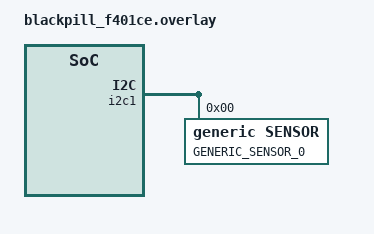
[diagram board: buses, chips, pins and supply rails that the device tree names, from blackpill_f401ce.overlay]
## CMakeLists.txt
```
# SPDX-License-Identifier: Apache-2.0

cmake_minimum_required(VERSION 3.20.0)
set(BOARD blackpill_f401ce)
set(DTC_OVERLAY_FILE blackpill_f401ce.overlay)

find_package(Zephyr REQUIRED HINTS $ENV{ZEPHYR_BASE})

project(usb_non_standard_class)

target_sources(app  PRIVATE src/main.c src/led.c src/bme280.c)
```

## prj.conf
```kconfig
CONFIG_STDOUT_CONSOLE=y
CONFIG_USB_DEVICE_STACK=y
CONFIG_USB_DEVICE_PRODUCT="USB Non Standard Class"
CONFIG_USB_DEVICE_VID=0x2312
CONFIG_USB_DEVICE_PID=0xec40
CONFIG_LOG=y
# CONFIG_LOG_DEFAULT_LEVEL=4
CONFIG_USB_DRIVER_LOG_LEVEL_ERR=y
CONFIG_USB_DEVICE_LOG_LEVEL_ERR=y
CONFIG_SERIAL=y
CONFIG_UART_INTERRUPT_DRIVEN=y
CONFIG_UART_LINE_CTRL=y
CONFIG_USB_DEVICE_INITIALIZE_AT_BOOT=n
CONFIG_GPIO=y

# Adding I2C
CONFIG_I2C=y
```

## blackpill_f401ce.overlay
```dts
/*
 * Copyright (c) 2020, Nordic Semiconductor ASA
 *
 * SPDX-License-Identifier: Apache-2.0
 */

/*
 * Example configuration of a BME280 device on a blackpill_f401ce I2C bus.
 *
 * Device address 0x77 is assumed. Your device may have a different
 * address; check your device documentation if unsure.
 */
&i2c1 {
	status = "okay";

	sensor@0 {
		compatible = "generic,sensor";
		reg = <0x00>;
		label = "GENERIC_SENSOR_0";
	};
};
```

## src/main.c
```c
/*
 * USB non standard class
 *
 * @author: Jakub Szymanski
 */

#include <stdio.h>
#include <stdlib.h>
#include <string.h>
#include <zephyr/device.h>
#include <zephyr/drivers/i2c.h>
#include <zephyr/drivers/sensor.h>
#include <zephyr/drivers/uart.h>
#include <zephyr/init.h>
#include <zephyr/kernel.h>
#include <zephyr/logging/log.h>
#include <zephyr/sys/ring_buffer.h>
#include <zephyr/usb/usb_device.h>
#include <zephyr/usb/usbd.h>

#include "bme280.h"
#include "led.h"

#define BULK_OUT_EP_ADDR 0x01
#define BULK_IN_EP_ADDR 0x81

#define BULK_OUT_EP_IDX 0
#define BULK_IN_EP_IDX 1

#define USB_READ_FLAG 0x5b
#define USB_WRITE_FLAG 0x5c

LOG_MODULE_REGISTER(main);
struct i2c_command {
    uint8_t operation;    // Typ operacji: odczyt/zapis
    uint8_t device_addr;  // Adres urządzenia I2C
    uint8_t reg_addr;     // Adres rejestru (jeśli dotyczy)
    uint8_t data_length;  // Długość danych
    uint8_t data[64];     // Dane do wysłania/odebrania
};

static struct k_work i2c_work;
static struct i2c_command i2c_cmd;

static uint8_t usb_static_buffer[64] = {0};

uint8_t who_am_i;
const struct device *gdev = 0;

struct usb_config {
    struct usb_if_descriptor if0;
    struct usb_ep_descriptor if0_out_ep;
    struct usb_ep_descriptor if0_in_ep;
} __packed;

USBD_CLASS_DESCR_DEFINE(primary, 0)
struct usb_config my_usb_config = {
    /* Interface descriptor 0 */
    .if0 =
        {
            .bLength = sizeof(struct usb_if_descriptor),
            .bDescriptorType = USB_DESC_INTERFACE,
            .bInterfaceNumber = 0,
            .bAlternateSetting = 0,
            .bNumEndpoints = 2,
            .bInterfaceClass = USB_BCC_VENDOR,
            .bInterfaceSubClass = 0,
            .bInterfaceProtocol = 0,
            .iInterface = 0,
        },

    /* Data Endpoint OUT */
    .if0_out_ep =
        {
            .bLength = sizeof(struct usb_ep_descriptor),
            .bDescriptorType = USB_DESC_ENDPOINT,
            .bEndpointAddress = BULK_OUT_EP_ADDR,
            .bmAttributes = USB_DC_EP_BULK,
            .wMaxPacketSize = 64,
            .bInterval = 0x00,
        },

    /* Data Endpoint IN */
    .if0_in_ep =
        {
            .bLength = sizeof(struct usb_ep_descriptor),
            .bDescriptorType = USB_DESC_ENDPOINT,
            .bEndpointAddress = BULK_IN_EP_ADDR,
            .bmAttributes = USB_DC_EP_BULK,
            .wMaxPacketSize = 64,
            .bInterval = 0x00,
        },
};
static uint8_t is_i2c_ready() {
    const struct device *i2c_dev = gdev;
    if (i2c_dev == NULL) {
        /* No such node, or the node does not have status "okay". */
        LOG_INF("Error: no i2c device founding.\n");
        return NULL;
    }

    if (!device_is_ready(i2c_dev)) {
        LOG_INF(
            "Error: Device \"%s\" is not ready; "
            "check the driver initialization logs for errors.\n",
            i2c_dev->name);
        return NULL;
    }
    LOG_INF("Device is ready\n");
    return 1;
}

void i2c_work_handler(struct k_work *work) {
    int ret;
    uint8_t tmp;
    printk("i2c_work start\n");

    if (i2c_cmd.operation == 0) {  // Zapis
        ret = i2c_burst_write(gdev, i2c_cmd.device_addr, i2c_cmd.reg_addr,
                              i2c_cmd.data, i2c_cmd.data_length);
        if (ret != 0) {
            printk("Failed to write I2C message: %d\n", ret);
        } else {
            printk("I2C message sent successfully.\n");
        }
    } else if (i2c_cmd.operation == 1) {  // Odczyt
        ret = i2c_reg_read_byte(gdev, i2c_cmd.device_addr, i2c_cmd.reg_addr,
                                &tmp);
        i2c_cmd.data[0] = tmp;
        if (ret != 0) {
            printk("Failed to read I2C message: %d\n", ret);
        } else {
            printk("I2C message read successfully. Read: %x\n", tmp);

            // Przesyłanie danych z powrotem do hosta USB
            uint8_t ep = 0x81;  // Wartość może być dostosowana zgodnie z Twoimi
                                // wymaganiami
            int result = usb_write(ep, i2c_cmd.data, 1, NULL);
            if (result == 0) {
                printk("USB message sent successfully. Data: %x\n", tmp);
            } else {
                printk("USB write failed with error code %d.\n", result);
            }
        }
    }
    printk("i2c_work end\n");
}

static void bulk_ep_out_cb(uint8_t ep,
                           enum usb_dc_ep_cb_status_code ep_status) {
    uint32_t bytes_to_read;

    // Odczytaj ilość bajtów do odczytu
    usb_read(ep, NULL, 0, &bytes_to_read);
    LOG_INF("ep 0x%x, bytes to read %d ", ep, bytes_to_read);

    // Upewnij się, że ilość bajtów nie przekracza rozmiaru struktury
    // i2c_command
    if (bytes_to_read > sizeof(struct i2c_command)) {
        LOG_ERR("Received data exceeds buffer size.");
        return;
    }

    // Odczytaj dane z bufora USB do struktury i2c_command
    usb_read(ep, (uint8_t *)&i2c_cmd, bytes_to_read, NULL);

    LOG_INF(
        "Received I2C command: operation=%d, addr=0x%x, reg=0x%x, length=%d",
        i2c_cmd.operation, i2c_cmd.device_addr, i2c_cmd.reg_addr,
        i2c_cmd.data_length);
    printk("Enable ep %x\n", ep);
    usb_dc_ep_enable(ep);
    // Przekazanie danych do workqueue
    k_work_submit(&i2c_work);
}

static void bulk_ep_in_cb(uint8_t ep, enum usb_dc_ep_cb_status_code ep_status) {
    uint8_t stalled;
    LOG_WRN("usb_dc_ep_is_stalled - return: %d, stalled: %d",
            usb_dc_ep_is_stalled(ep, &stalled), stalled);

    // Przesyłanie danych z powrotem do hosta USB
    int result = usb_write(ep, i2c_cmd.data, i2c_cmd.data_length, NULL);

    if (result == 0) {
        LOG_INF("ep 0x%x", ep);
        LOG_INF("Sending value: %d ", i2c_cmd.data[0]);
    } else {
        printk("USB write failed with error code %d.\n", result);
    }
}

static struct usb_ep_cfg_data ep_cfg[] = {
    {
        .ep_cb = bulk_ep_out_cb,
        .ep_addr = BULK_OUT_EP_ADDR,
    },
    {
        .ep_cb = bulk_ep_in_cb,
        .ep_addr = BULK_IN_EP_ADDR,
    },
};

static void usb_status_cb(struct usb_cfg_data *cfg,
                          enum usb_dc_status_code status,
                          const uint8_t *param) {
    ARG_UNUSED(cfg);

    // LOG_INF("USB Status callback enter");

    switch (status) {
        case USB_DC_INTERFACE:
            bulk_ep_in_cb(ep_cfg[BULK_IN_EP_IDX].ep_addr, 0);
            LOG_INF("USB interface configured");
            break;

        case USB_DC_SET_HALT:
            LOG_INF("Set Feature ENDPOINT_HALT");
            break;

        case USB_DC_CLEAR_HALT:
            /*TODO: understand this and use this */
            LOG_INF("Clear Feature ENDPOINT_HALT");
            if (*param == ep_cfg[BULK_IN_EP_IDX].ep_addr) {
                bulk_ep_in_cb(ep_cfg[BULK_IN_EP_IDX].ep_addr, 0);
            }
            break;

        default:
            break;
    }
}

static int usb_vendor_handler(struct usb_setup_packet *setup, int32_t *len,
                              uint8_t **data) {
    LOG_INF("Class request: bRequest 0x%x bmRequestType 0x%x len %d",
            setup->bRequest, setup->bmRequestType, *len);

    const struct device *i2c_dev = gdev;
    if (setup->RequestType.recipient != USB_REQTYPE_RECIPIENT_DEVICE) {
        return -ENOTSUP;
    }

    if (usb_reqtype_is_to_device(setup) && setup->bRequest == USB_READ_FLAG) {
        LOG_INF("Host-to-Device, data: %p wValue: %d", (void *)*data,
                setup->wValue);
        LOG_INF("Receive message: %s", *data);
        /*
         * Copy request data in usb_static_buffer buffer and reuse
         * it later in control device-to-host transfer.
         */
        memcpy(usb_static_buffer, *data,
               MIN(sizeof(usb_static_buffer), setup->wLength));
        set_led_state(setup->wValue);

        return 0;
    }

    if ((usb_reqtype_is_to_host(setup)) &&
        (setup->bRequest == USB_WRITE_FLAG)) {
        LOG_INF("Device-to-Host, wValue %d, data %p", setup->wValue,
                (void *)*data);
        LOG_INF("Sending message: %s", usb_static_buffer);
        *data = usb_static_buffer;
        *len = MIN(sizeof(usb_static_buffer), setup->wLength);
        return 0;
    }

    return -ENOTSUP;
}

/* usb.rst vendor handler end */
static void custom_interface_config(struct usb_desc_header *head,
                                    uint8_t bInterfaceNumber) {
    ARG_UNUSED(head);

    my_usb_config.if0.bInterfaceNumber = bInterfaceNumber;
}

/* usb.rst device config data start */
USBD_DEFINE_CFG_DATA(my_usb_config_data) = {
    .usb_device_description = NULL,
    .interface_config = custom_interface_config,
    .interface_descriptor = &my_usb_config.if0,
    .cb_usb_status = usb_status_cb,
    .interface =
        {
            .class_handler = NULL,
            .custom_handler = NULL,
            .vendor_handler = usb_vendor_handler,
        },
    .num_endpoints = ARRAY_SIZE(ep_cfg),
    .endpoint = ep_cfg,
};
/* usb.rst device config data end */

int main(void) {
    k_work_init(&i2c_work, i2c_work_handler);

    int ret;

    ret = usb_enable(NULL);
    if (ret != 0) {
        LOG_ERR("Failed to enable USB");
        return 0;
    }

    LOG_INF("entered main.");
    if (init_led() < 0) {
        LOG_WRN("Failed to enable LED");
        return 0;
    }

    gdev = DEVICE_DT_GET(DT_NODELABEL(i2c1));

    if (!gdev) {
        printk("Cannot get I2C device\n");
        return 0;
    }

    // Sprawdź identyfikator chipu
    // uint8_t chip_id;
    // ret = i2c_reg_read_byte(gdev, BMP280_I2C_ADDRESS, BMP280_REG_CHIPID,
    //                         &chip_id);
    // if (ret != 0) {
    //     printk("Failed to read chip ID: %d\n", ret);
    //     return 0;
    // }

    // if (chip_id != BMP280_CHIPID) {
    //     printk("Invalid chip ID: 0x%x\n", chip_id);
    //     return 0;
    // }
    // printk("I2C device found - chip ID: 0x%x\n", chip_id);
    // read_temperature_from_bmp280(gdev);

    printk("End\n");
    return 0;
}
```

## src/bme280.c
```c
#include "bme280.h"

#include <stdint.h>

typedef struct {
    int32_t integer_part;
    int32_t fractional_part;
} Temperature;

static Temperature bmp280_compensate_temp(int32_t adc_T) {
    // Kalibracyjne stałe
    int32_t dig_T1 = 27504;
    int32_t dig_T2 = 26435;
    int32_t dig_T3 = -1000;

    int32_t var1, var2, T;

    var1 =
        ((((adc_T >> 3) - ((int32_t)dig_T1 << 1))) * ((int32_t)dig_T2)) >> 11;
    var2 = (((((adc_T >> 4) - ((int32_t)dig_T1)) *
              ((adc_T >> 4) - ((int32_t)dig_T1))) >>
             12) *
            ((int32_t)dig_T3)) >>
           14;
    T = var1 + var2;
    int32_t T_fine = T * 5 + 128;

    // Obliczanie temperatury w stopniach Celsjusza
    int32_t temp = T_fine / 256;
    int32_t temp_fraction = ((T_fine % 256) * 100) / 256;

    Temperature result;
    result.integer_part = temp / 100;
    result.fractional_part = temp_fraction;

    return result;
}

void read_temperature_from_bmp280(struct device *i2c_dev) {
    if (!i2c_dev) {
        printk("Failed to get binding for I2C device\n");
        return;
    }

    uint8_t temp_msb, temp_lsb, temp_xlsb;
    int ret;

    // Odczyt MSB
    ret = i2c_reg_read_byte(i2c_dev, BMP280_I2C_ADDRESS, BMP280_REG_TEMP_MSB,
                            &temp_msb);
    if (ret) {
        printk("Failed to read MSB register: %d\n", ret);
        return;
    }

    // Odczyt LSB
    ret = i2c_reg_read_byte(i2c_dev, BMP280_I2C_ADDRESS, BMP280_REG_TEMP_LSB,
                            &temp_lsb);
    if (ret) {
        printk("Failed to read LSB register: %d\n", ret);
        return;
    }

    // Odczyt XLSB
    ret = i2c_reg_read_byte(i2c_dev, BMP280_I2C_ADDRESS, BMP280_REG_TEMP_XLSB,
                            &temp_xlsb);
    if (ret) {
        printk("Failed to read XLSB register: %d\n", ret);
        return;
    }

    int32_t temp_raw =
        (int32_t)(((uint32_t)temp_msb << 12) | ((uint32_t)temp_lsb << 4) |
                  ((uint32_t)temp_xlsb >> 4));

    Temperature temp_celsius;
    temp_celsius = bmp280_compensate_temp(temp_raw);

    printk("Temperature: %d.02%d st. C\n", temp_celsius.integer_part,
           temp_celsius.fractional_part);
}
```

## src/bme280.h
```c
#ifndef BME_280_H
#define BME_280_H
#include <zephyr/device.h>
#include <zephyr/drivers/i2c.h>

#define BMP280_I2C_ADDRESS 0x76
// Rejestry BMP280
#define BMP280_REG_CHIPID 0xD0  // Adres rejestru identyfikatora chipu
#define BMP280_CHIPID 0x58      // Chip ID BMP280

#define BMP280_REG_CONTROL 0xF4
#define BMP280_REG_RESULT_PRESSURE \
    0xF7  // 0xF7(msb) , 0xF8(lsb) , 0xF9(xlsb) : stores the pressure data.
#define BMP280_REG_RESULT_TEMPRERATURE \
    0xFA  // 0xFA(msb) , 0xFB(lsb) , 0xFC(xlsb) : stores the temperature data.

#define BMP280_REG_TEMP_XLSB 0xFC
#define BMP280_REG_TEMP_LSB 0xFB
#define BMP280_REG_TEMP_MSB 0xFA

void read_temperature_from_bmp280(struct device *i2c_device);

#endif /* BME_280_h */
```

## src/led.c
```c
#include "led.h"

#include <stdio.h>

const struct gpio_dt_spec led = GPIO_DT_SPEC_GET(LED0_NODE, gpios);

int8_t init_led() {
    int ret;

    if (!gpio_is_ready_dt(&led)) {
        return -1;
    }

    ret = gpio_pin_configure_dt(&led, GPIO_OUTPUT_ACTIVE);
    if (ret < 0) {
        return -1;
    }
    return 0;
}

void set_led_state(uint8_t state) {
    if (state)
        led_on();
    else if (!state)
        led_off();
}

void led_on() { gpio_pin_set_dt(&led, 1); }
void led_off() { gpio_pin_set_dt(&led, 0); }
void led_toggle() { gpio_pin_toggle_dt(&led); }
```

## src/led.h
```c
#ifndef LED_H
#define LED_H
#include <stdint.h>
#include <zephyr/drivers/gpio.h>

#define LED0_NODE DT_ALIAS(led0)

extern const struct gpio_dt_spec led;

int8_t init_led();
void set_led_state(uint8_t state);
void led_on();
void led_off();
void led_toggle();

#endif /* LED_H */
```
